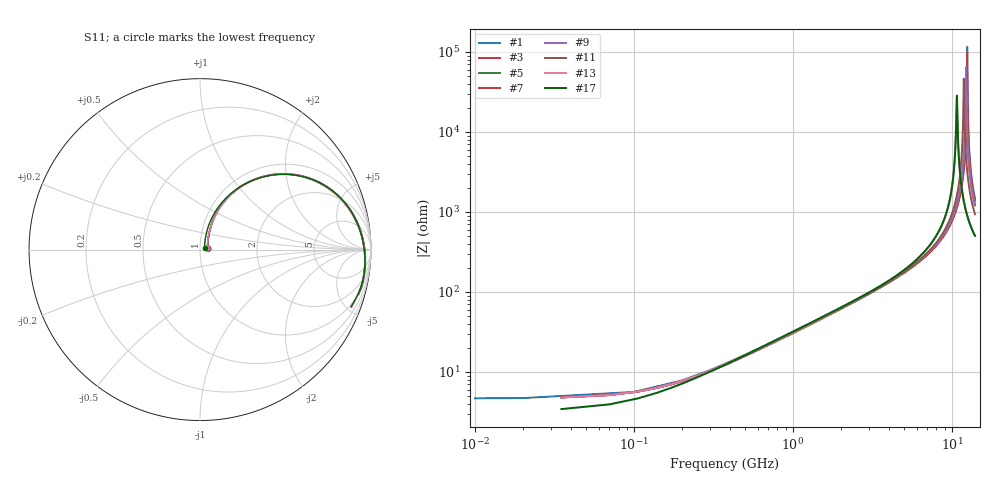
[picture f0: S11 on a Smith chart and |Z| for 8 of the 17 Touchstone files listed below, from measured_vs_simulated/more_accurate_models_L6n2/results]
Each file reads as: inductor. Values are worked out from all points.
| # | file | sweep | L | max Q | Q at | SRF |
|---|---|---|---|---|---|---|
| 1 | palace_L6n2_v5_2um_passicut.s2p | 10 MHz to 14 GHz | 4.99 nH | 57.2 | 10.2 GHz | 12.5 GHz |
| 2 | run_L6n2_mergecorrection_mesh0u5.s2p | 35 MHz to 14 GHz | 4.87 nH | 32.4 | 7.875 GHz | 11.06 GHz |
| 3 | run_L6n2_mergecorrection_passicut_boundary_mesh1_m250_a0.s2p | 35 MHz to 14 GHz | 4.78 nH | 48.9 | 9.905 GHz | 12.49 GHz |
| 4 | run_L6n2_mergecorrection_passicut_boundary_mesh1_m250_a100.s2p | 35 MHz to 14 GHz | 4.83 nH | 34.2 | 8.68 GHz | 12.29 GHz |
| 5 | run_L6n2_mergecorrection_passicut_boundary_mesh1_m250_a200.s2p | 35 MHz to 14 GHz | 4.84 nH | 35.4 | 8.82 GHz | 12.32 GHz |
| 6 | run_L6n2_mergecorrection_passicut_boundary_mesh1_m250_a400.s2p | 35 MHz to 14 GHz | 4.86 nH | 34.1 | 8.785 GHz | 12.25 GHz |
| 7 | run_L6n2_mergecorrection_passicut_boundary_mesh1_m250_a800.s2p | 35 MHz to 14 GHz | 4.86 nH | 34.7 | 8.68 GHz | 12.25 GHz |
| 8 | run_L6n2_mergecorrection_passicut_boundary_mesh1_m250_a1600.s2p | 35 MHz to 14 GHz | 4.86 nH | 35.1 | 8.715 GHz | 12.29 GHz |
| 9 | run_L6n2_mergecorrection_passicut_boundary_mesh1_w750_m250_a800.s2p | 35 MHz to 14 GHz | 4.87 nH | 40.7 | 9.24 GHz | 12.32 GHz |
| 10 | run_L6n2_mergecorrection_passicut_sweep_mesh0.5_limit-60.s2p | 35 MHz to 14 GHz | 4.87 nH | 51.4 | 10.19 GHz | 12.46 GHz |
| 11 | run_L6n2_mergecorrection_passicut_sweep_mesh2_limit-60.s2p | 35 MHz to 14 GHz | 4.86 nH | 34.6 | 8.645 GHz | 11.9 GHz |
| 12 | run_L6n2_mergecorrection_sweep_mesh1_limit-40.s2p | 35 MHz to 14 GHz | 5.01 nH | 25.9 | 6.09 GHz | 10.74 GHz |
| 13 | run_L6n2_mergecorrection_sweep_mesh1_limit-50.s2p | 35 MHz to 14 GHz | 4.87 nH | 25.2 | 6.895 GHz | 10.74 GHz |
| 14 | run_L6n2_mergecorrection_sweep_mesh1_limit-60.s2p | 35 MHz to 14 GHz | 4.87 nH | 25.2 | 6.895 GHz | 10.74 GHz |
| 15 | run_L6n2_mergecorrection_sweep_mesh2_limit-40.s2p | 35 MHz to 14 GHz | 4.95 nH | 24 | 6.125 GHz | 10.46 GHz |
| 16 | run_L6n2_mergecorrection_sweep_mesh2_limit-60.s2p | 35 MHz to 14 GHz | 4.85 nH | 24 | 6.79 GHz | 10.46 GHz |
| 17 | run_L6n2_mesh1.s2p | 35 MHz to 14 GHz | 5.02 nH | 28.7 | 6.23 GHz | 10.74 GHz |
